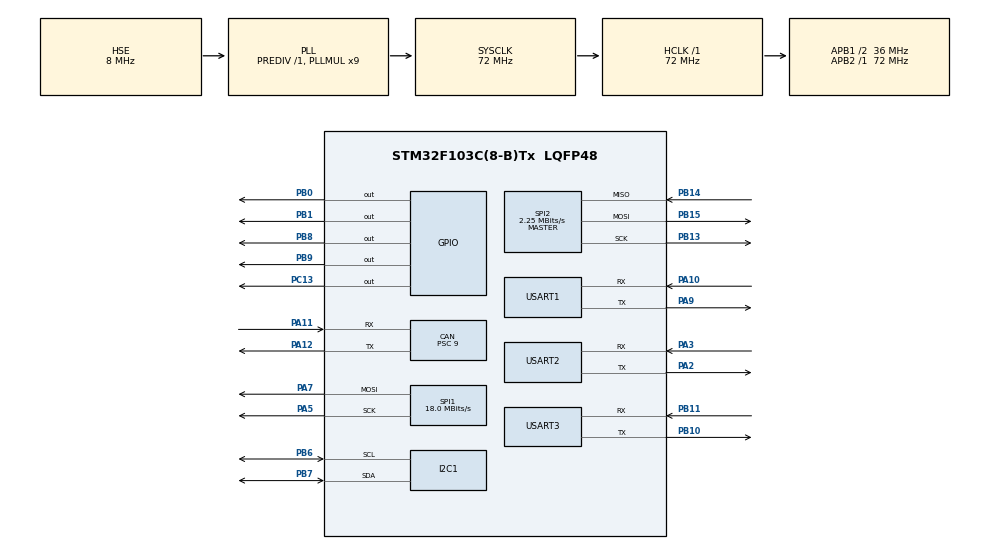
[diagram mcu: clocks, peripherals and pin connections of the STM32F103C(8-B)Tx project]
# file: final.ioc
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CAN.BS1=CAN_BS1_5TQ
CAN.BS2=CAN_BS2_2TQ
CAN.CalculateBaudRate=500000
CAN.CalculateTimeBit=2000
CAN.CalculateTimeQuantum=250.0
CAN.Prescaler=9
FREERTOS.Tasks01=Task01,3,128,StartTask01,Default,NULL,Dynamic,NULL,NULL
Mcu.Family=STM32F1
Mcu.Name=STM32F103C(8-B)Tx
Mcu.Package=LQFP48
NVIC.PriorityGroup=NVIC_PRIORITYGROUP_4
NVIC.TIM4_IRQn=true\:15\:0\:false\:false\:true\:false\:false\:true\:true
NVIC.TimeBase=TIM4_IRQn
NVIC.TimeBaseIP=TIM4
PA10.Mode=Asynchronous
PA10.Signal=USART1_RX
PA11.Mode=CAN_Activate
PA11.Signal=CAN_RX
PA12.Mode=CAN_Activate
PA12.Signal=CAN_TX
PA13.Mode=Serial_Wire
PA13.Signal=SYS_JTMS-SWDIO
PA14.Mode=Serial_Wire
PA14.Signal=SYS_JTCK-SWCLK
PA2.Mode=Asynchronous
PA2.Signal=USART2_TX
PA3.Mode=Asynchronous
PA3.Signal=USART2_RX
PA5.Mode=TX_Only_Simplex_Unidirect_Master
PA5.Signal=SPI1_SCK
PA7.Mode=TX_Only_Simplex_Unidirect_Master
PA7.Signal=SPI1_MOSI
PA9.Mode=Asynchronous
PA9.Signal=USART1_TX
PB0.Signal=GPIO_Output
PB1.Signal=GPIO_Output
PB10.Mode=Asynchronous
PB10.Signal=USART3_TX
PB11.Mode=Asynchronous
PB11.Signal=USART3_RX
PB13.Mode=Full_Duplex_Master
PB13.Signal=SPI2_SCK
PB14.Mode=Full_Duplex_Master
PB14.Signal=SPI2_MISO
PB15.Mode=Full_Duplex_Master
PB15.Signal=SPI2_MOSI
PB6.Mode=I2C
PB6.Signal=I2C1_SCL
PB7.Mode=I2C
PB7.Signal=I2C1_SDA
PB8.Signal=GPIO_Output
PB9.Signal=GPIO_Output
PC13-TAMPER-RTC.Signal=GPIO_Output
PD0-OSC_IN.Mode=HSE-External-Oscillator
PD0-OSC_IN.Signal=RCC_OSC_IN
PD1-OSC_OUT.Mode=HSE-External-Oscillator
PD1-OSC_OUT.Signal=RCC_OSC_OUT
ProjectManager.HeapSize=0x200
ProjectManager.StackSize=0x400
ProjectManager.TargetToolchain=MDK-ARM V5.32
RCC.AHBFreq_Value=72000000
RCC.APB1CLKDivider=RCC_HCLK_DIV2
RCC.APB1Freq_Value=36000000
RCC.APB1TimFreq_Value=72000000
RCC.APB2Freq_Value=72000000
RCC.APB2TimFreq_Value=72000000
RCC.HCLKFreq_Value=72000000
RCC.PLLMUL=RCC_PLL_MUL9
RCC.PLLSourceVirtual=RCC_PLLSOURCE_HSE
RCC.SYSCLKFreq_VALUE=72000000
RCC.SYSCLKSource=RCC_SYSCLKSOURCE_PLLCLK
RCC.USBFreq_Value=72000000
SPI1.BaudRatePrescaler=SPI_BAUDRATEPRESCALER_4
SPI1.CalculateBaudRate=18.0 MBits/s
SPI1.Direction=SPI_DIRECTION_2LINES
SPI1.Mode=SPI_MODE_MASTER
SPI1.VirtualType=VM_MASTER
SPI2.BaudRatePrescaler=SPI_BAUDRATEPRESCALER_16
SPI2.CalculateBaudRate=2.25 MBits/s
SPI2.Direction=SPI_DIRECTION_2LINES
SPI2.Mode=SPI_MODE_MASTER
SPI2.VirtualType=VM_MASTER
USART1.VirtualMode=VM_ASYNC
USART2.VirtualMode=VM_ASYNC
USART3.VirtualMode=VM_ASYNC
VP_FATFS_VS_Generic.Mode=User_defined
VP_FREERTOS_VS_CMSIS_V1.Mode=CMSIS_V1
VP_SYS_VS_tim4.Mode=TIM4
board=custom

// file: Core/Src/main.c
/* USER CODE BEGIN Header */
/**
  ******************************************************************************
  * @file           : main.c
  * @brief          : Main program body
  ******************************************************************************
  * @attention
  *
  * Copyright (c) 2025 STMicroelectronics.
  * All rights reserved.
  *
  * This software is licensed under terms that can be found in the LICENSE file
  * in the root directory of this software component.
  * If no LICENSE file comes with this software, it is provided AS-IS.
  *
  ******************************************************************************
  */
/* USER CODE END Header */
#include "main.h"
#include "cmsis_os.h"
#include "fatfs.h"

/* USER CODE BEGIN Includes */
#include "stdarg.h"
#include "string.h"
#include "fonts.h"
#include "ST7735.h"
#include "DS3231.h"
#include "stdio.h"
#include "freertos.h"
/* USER CODE END Includes */

CAN_HandleTypeDef hcan;

I2C_HandleTypeDef hi2c1;

SPI_HandleTypeDef hspi1;
SPI_HandleTypeDef hspi2;

UART_HandleTypeDef huart1;
UART_HandleTypeDef huart2;
UART_HandleTypeDef huart3;

osThreadId Task01Handle;
/* USER CODE BEGIN PV */
osThreadId Task02Handle;
osThreadId Task03Handle;
/* USER CODE END PV */

void SystemClock_Config(void);
static void MX_GPIO_Init(void);
static void MX_I2C1_Init(void);
static void MX_USART1_UART_Init(void);
static void MX_USART2_UART_Init(void);
static void MX_USART3_UART_Init(void);
static void MX_CAN_Init(void);
static void MX_SPI1_Init(void);
static void MX_SPI2_Init(void);
void StartTask01(void const * argument);

/* USER CODE BEGIN PFP */
void StartTask02(void const * argument);
void StartTask03(void const * argument);
/* USER CODE END PFP */

/* USER CODE BEGIN 0 */
char buff[80];
void mPrint(const char* format, ...){
    va_list args;
    va_start(args, format);
    vsnprintf(buff, sizeof(buff), format, args);
    va_end(args);
    HAL_UART_Transmit(&huart1, (uint8_t*)buff, strlen(buff), 1000);
}
static void processRxData(void);
CAN_RxHeaderTypeDef rxHeader; //CAN Bus Receive Header
CAN_TxHeaderTypeDef txHeader; //CAN Bus Transmit Header
uint8_t canRX[8] = {0,0,0,0,0,0,0,0}; //CAN Bus Receive Buffer
CAN_FilterTypeDef canfil; //CAN Bus Filter
uint32_t canMailbox; //CAN Bus Mail box variable

// Bi?n luu th�ng s? decimal sau chuy?n d?i
volatile float engine_rpm = 0.0f;
volatile int vehicle_speed = 0;
volatile float coolant_temp = 0.0f;
Datetime dt;

// --- KHAI BÁO CHO TÍNH NĂNG TAI NẠN ---
extern UART_HandleTypeDef huart2; // UART kết nối với SIM
float my_lat = 10.8505f; // Ví dụ: Đại học SPKT
float my_lon = 106.7719f;
uint8_t accident_detected = 0; // Cờ báo tai nạn (0: ko, 1: có)

// Hàm gửi lệnh AT cho SIM
void SIM_SendCommand(char* cmd) {
    HAL_UART_Transmit(&huart2, (uint8_t*)cmd, strlen(cmd), 1000);
    HAL_UART_Transmit(&huart2, (uint8_t*)"\r\n", 2, 100);
    HAL_Delay(500); // Đợi SIM phản hồi
}

// Hàm gửi tin nhắn khẩn cấp
void Send_Emergency_Alert() {
    if(accident_detected == 1) return; // Đã gửi rồi thì không gửi lại liên tục

    char msg_buffer[100];

    // 1. Cấu hình tin nhắn văn bản
    SIM_SendCommand("AT+CMGF=1");

    // 2. Gửi tin nhắn (Thay số điện thoại của bạn vào đây)
    SIM_SendCommand("AT+CMGS=\"0966976292\"");

    // 3. Nội dung tin nhắn kèm vị trí
    sprintf(msg_buffer, "CANH BAO TAI NAN! Vi tri: Lat: %f, Lon: %f", my_lat, my_lon);
    HAL_UART_Transmit(&huart2, (uint8_t*)msg_buffer, strlen(msg_buffer), 1000);

    // 4. Ký tự Ctrl+Z (ASCII 26) để kết thúc tin nhắn
    uint8_t ctrl_z = 26;
    HAL_UART_Transmit(&huart2, &ctrl_z, 1, 100);
    HAL_Delay(3000); // Đợi tin nhắn đi

    // 5. Gọi điện thoại
    SIM_SendCommand("ATD0966976292;");

    accident_detected = 1; // Khóa lại để không spam
}

/* USER CODE END 0 */

int main(void)
{

  /* MCU Configuration--------------------------------------------------------*/

  /* Reset of all peripherals, Initializes the Flash interface and the Systick. */
  HAL_Init();

  /* Configure the system clock */
  SystemClock_Config();

  /* Initialize all configured peripherals */
  MX_GPIO_Init();
  MX_I2C1_Init();
  MX_USART1_UART_Init();
  MX_USART2_UART_Init();
  MX_USART3_UART_Init();
  MX_CAN_Init();
  MX_SPI1_Init();
  MX_SPI2_Init();
  MX_FATFS_Init();
  /* USER CODE BEGIN 2 */
	RTC_Init(&dt);

	 HAL_GPIO_WritePin(GPIOC, GPIO_PIN_13, GPIO_PIN_SET);
  canfil.FilterBank = 0;
  canfil.FilterMode = CAN_FILTERMODE_IDMASK;
  canfil.FilterFIFOAssignment = CAN_RX_FIFO0;
  canfil.FilterIdHigh = 0;
  canfil.FilterIdLow = 0;
  canfil.FilterMaskIdHigh = 0;
  canfil.FilterMaskIdLow = 0;
  canfil.FilterScale = CAN_FILTERSCALE_32BIT;
  canfil.FilterActivation = ENABLE;
  canfil.SlaveStartFilterBank = 14;
	  // Config filter TRU?C khi start CAN
  HAL_CAN_ConfigFilter(&hcan, &canfil);
  HAL_CAN_Start(&hcan);
//  HAL_CAN_ActivateNotification(&hcan, CAN_IT_RX_FIFO0_MSG_PENDING);

  txHeader.DLC = 8;
  txHeader.IDE = CAN_ID_STD;
  txHeader.RTR = CAN_RTR_DATA;
  txHeader.ExtId = 0x00;  // Kh�ng d�ng cho STD ID
  txHeader.TransmitGlobalTime = DISABLE;
  /* USER CODE END 2 */

  /* Create the thread(s) */
  /* definition and creation of Task01 */
  osThreadDef(Task01, StartTask01, osPriorityRealtime, 0, 128);
  Task01Handle = osThreadCreate(osThread(Task01), NULL);

  /* USER CODE BEGIN RTOS_THREADS */
	  osThreadDef(Task02, StartTask02, 2, 0, 128);
  Task02Handle = osThreadCreate(osThread(Task02), NULL);
	mPrint("Heap con lai: %d bytes\r\n", xPortGetFreeHeapSize());
	  osThreadDef(Task03, StartTask03, 1, 0, 2024);
  Task03Handle = osThreadCreate(osThread(Task03), NULL);
	mPrint("Heap con lai: %d bytes\r\n", xPortGetFreeHeapSize());

  /* add threads, ... */
  /* USER CODE END RTOS_THREADS */

  /* Start scheduler */
  osKernelStart();

  /* We should never get here as control is now taken by the scheduler */

  /* Infinite loop */
  while (1)
  {

  }
}

void SystemClock_Config(void)
{
  RCC_OscInitTypeDef RCC_OscInitStruct = {0};
  RCC_ClkInitTypeDef RCC_ClkInitStruct = {0};

  /** Initializes the RCC Oscillators according to the specified parameters
  * in the RCC_OscInitTypeDef structure.
  */
  RCC_OscInitStruct.OscillatorType = RCC_OSCILLATORTYPE_HSE;
  RCC_OscInitStruct.HSEState = RCC_HSE_ON;
  RCC_OscInitStruct.HSEPredivValue = RCC_HSE_PREDIV_DIV1;
  RCC_OscInitStruct.HSIState = RCC_HSI_ON;
  RCC_OscInitStruct.PLL.PLLState = RCC_PLL_ON;
  RCC_OscInitStruct.PLL.PLLSource = RCC_PLLSOURCE_HSE;
  RCC_OscInitStruct.PLL.PLLMUL = RCC_PLL_MUL9;
  if (HAL_RCC_OscConfig(&RCC_OscInitStruct) != HAL_OK)
  {
    Error_Handler();
  }

  /** Initializes the CPU, AHB and APB buses clocks
  */
  RCC_ClkInitStruct.ClockType = RCC_CLOCKTYPE_HCLK|RCC_CLOCKTYPE_SYSCLK
                              |RCC_CLOCKTYPE_PCLK1|RCC_CLOCKTYPE_PCLK2;
  RCC_ClkInitStruct.SYSCLKSource = RCC_SYSCLKSOURCE_PLLCLK;
  RCC_ClkInitStruct.AHBCLKDivider = RCC_SYSCLK_DIV1;
  RCC_ClkInitStruct.APB1CLKDivider = RCC_HCLK_DIV2;
  RCC_ClkInitStruct.APB2CLKDivider = RCC_HCLK_DIV1;

  if (HAL_RCC_ClockConfig(&RCC_ClkInitStruct, FLASH_LATENCY_2) != HAL_OK)
  {
    Error_Handler();
  }
}

static void MX_CAN_Init(void)
{

  hcan.Instance = CAN1;
  hcan.Init.Prescaler = 9;
  hcan.Init.Mode = CAN_MODE_NORMAL;
  hcan.Init.SyncJumpWidth = CAN_SJW_1TQ;
  hcan.Init.TimeSeg1 = CAN_BS1_5TQ;
  hcan.Init.TimeSeg2 = CAN_BS2_2TQ;
  hcan.Init.TimeTriggeredMode = DISABLE;
  hcan.Init.AutoBusOff = DISABLE;
  hcan.Init.AutoWakeUp = DISABLE;
  hcan.Init.AutoRetransmission = DISABLE;
  hcan.Init.ReceiveFifoLocked = DISABLE;
  hcan.Init.TransmitFifoPriority = DISABLE;
  if (HAL_CAN_Init(&hcan) != HAL_OK)
  {
    Error_Handler();
  }

}

static void MX_I2C1_Init(void)
{

  hi2c1.Instance = I2C1;
  hi2c1.Init.ClockSpeed = 100000;
  hi2c1.Init.DutyCycle = I2C_DUTYCYCLE_2;
  hi2c1.Init.OwnAddress1 = 0;
  hi2c1.Init.AddressingMode = I2C_ADDRESSINGMODE_7BIT;
  hi2c1.Init.DualAddressMode = I2C_DUALADDRESS_DISABLE;
  hi2c1.Init.OwnAddress2 = 0;
  hi2c1.Init.GeneralCallMode = I2C_GENERALCALL_DISABLE;
  hi2c1.Init.NoStretchMode = I2C_NOSTRETCH_DISABLE;
  if (HAL_I2C_Init(&hi2c1) != HAL_OK)
  {
    Error_Handler();
  }

}

static void MX_SPI1_Init(void)
{

  /* SPI1 parameter configuration*/
  hspi1.Instance = SPI1;
  hspi1.Init.Mode = SPI_MODE_MASTER;
  hspi1.Init.Direction = SPI_DIRECTION_2LINES;
  hspi1.Init.DataSize = SPI_DATASIZE_8BIT;
  hspi1.Init.CLKPolarity = SPI_POLARITY_LOW;
  hspi1.Init.CLKPhase = SPI_PHASE_1EDGE;
  hspi1.Init.NSS = SPI_NSS_SOFT;
  hspi1.Init.BaudRatePrescaler = SPI_BAUDRATEPRESCALER_4;
  hspi1.Init.FirstBit = SPI_FIRSTBIT_MSB;
  hspi1.Init.TIMode = SPI_TIMODE_DISABLE;
  hspi1.Init.CRCCalculation = SPI_CRCCALCULATION_DISABLE;
  hspi1.Init.CRCPolynomial = 10;
  if (HAL_SPI_Init(&hspi1) != HAL_OK)
  {
    Error_Handler();
  }

}

static void MX_SPI2_Init(void)
{

  /* SPI2 parameter configuration*/
  hspi2.Instance = SPI2;
  hspi2.Init.Mode = SPI_MODE_MASTER;
  hspi2.Init.Direction = SPI_DIRECTION_2LINES;
  hspi2.Init.DataSize = SPI_DATASIZE_8BIT;
  hspi2.Init.CLKPolarity = SPI_POLARITY_LOW;
  hspi2.Init.CLKPhase = SPI_PHASE_1EDGE;
  hspi2.Init.NSS = SPI_NSS_SOFT;
  hspi2.Init.BaudRatePrescaler = SPI_BAUDRATEPRESCALER_16;
  hspi2.Init.FirstBit = SPI_FIRSTBIT_MSB;
  hspi2.Init.TIMode = SPI_TIMODE_DISABLE;
  hspi2.Init.CRCCalculation = SPI_CRCCALCULATION_DISABLE;
  hspi2.Init.CRCPolynomial = 10;
  if (HAL_SPI_Init(&hspi2) != HAL_OK)
  {
    Error_Handler();
  }

}

static void MX_USART1_UART_Init(void)
{

  huart1.Instance = USART1;
  huart1.Init.BaudRate = 115200;
  huart1.Init.WordLength = UART_WORDLENGTH_8B;
  huart1.Init.StopBits = UART_STOPBITS_1;
  huart1.Init.Parity = UART_PARITY_NONE;
  huart1.Init.Mode = UART_MODE_TX_RX;
  huart1.Init.HwFlowCtl = UART_HWCONTROL_NONE;
  huart1.Init.OverSampling = UART_OVERSAMPLING_16;
  if (HAL_UART_Init(&huart1) != HAL_OK)
  {
    Error_Handler();
  }

}

static void MX_USART2_UART_Init(void)
{

  huart2.Instance = USART2;
  huart2.Init.BaudRate = 115200;
  huart2.Init.WordLength = UART_WORDLENGTH_8B;
  huart2.Init.StopBits = UART_STOPBITS_1;
  huart2.Init.Parity = UART_PARITY_NONE;
  huart2.Init.Mode = UART_MODE_TX_RX;
  huart2.Init.HwFlowCtl = UART_HWCONTROL_NONE;
  huart2.Init.OverSampling = UART_OVERSAMPLING_16;
  if (HAL_UART_Init(&huart2) != HAL_OK)
  {
    Error_Handler();
  }

}

static void MX_USART3_UART_Init(void)
{

  huart3.Instance = USART3;
  huart3.Init.BaudRate = 115200;
  huart3.Init.WordLength = UART_WORDLENGTH_8B;
  huart3.Init.StopBits = UART_STOPBITS_1;
  huart3.Init.Parity = UART_PARITY_NONE;
  huart3.Init.Mode = UART_MODE_TX_RX;
  huart3.Init.HwFlowCtl = UART_HWCONTROL_NONE;
  huart3.Init.OverSampling = UART_OVERSAMPLING_16;
  if (HAL_UART_Init(&huart3) != HAL_OK)
  {
    Error_Handler();
  }

}

static void MX_GPIO_Init(void)
{
  GPIO_InitTypeDef GPIO_InitStruct = {0};

  /* GPIO Ports Clock Enable */
  __HAL_RCC_GPIOC_CLK_ENABLE();
  __HAL_RCC_GPIOD_CLK_ENABLE();
  __HAL_RCC_GPIOA_CLK_ENABLE();
  __HAL_RCC_GPIOB_CLK_ENABLE();

  /*Configure GPIO pin Output Level */
  HAL_GPIO_WritePin(GPIOC, GPIO_PIN_13, GPIO_PIN_RESET);

  /*Configure GPIO pin Output Level */
  HAL_GPIO_WritePin(GPIOB, GPIO_PIN_0|GPIO_PIN_1|GPIO_PIN_8|GPIO_PIN_9, GPIO_PIN_RESET);

  /*Configure GPIO pin : PC13 */
  GPIO_InitStruct.Pin = GPIO_PIN_13;
  GPIO_InitStruct.Mode = GPIO_MODE_OUTPUT_PP;
  GPIO_InitStruct.Pull = GPIO_NOPULL;
  GPIO_InitStruct.Speed = GPIO_SPEED_FREQ_LOW;
  HAL_GPIO_Init(GPIOC, &GPIO_InitStruct);

  /*Configure GPIO pins : PB0 PB1 PB8 PB9 */
  GPIO_InitStruct.Pin = GPIO_PIN_0|GPIO_PIN_1|GPIO_PIN_8|GPIO_PIN_9;
  GPIO_InitStruct.Mode = GPIO_MODE_OUTPUT_PP;
  GPIO_InitStruct.Pull = GPIO_NOPULL;
  GPIO_InitStruct.Speed = GPIO_SPEED_FREQ_LOW;
  HAL_GPIO_Init(GPIOB, &GPIO_InitStruct);

  /* USER CODE BEGIN MX_GPIO_Init_2 */

HAL_GPIO_WritePin(GPIOC, GPIO_PIN_13, GPIO_PIN_RESET);
  /*Configure GPIO pin : PC13 */
  GPIO_InitStruct.Pin = GPIO_PIN_13;
  GPIO_InitStruct.Mode = GPIO_MODE_OUTPUT_PP;
  GPIO_InitStruct.Pull = GPIO_NOPULL;
  GPIO_InitStruct.Speed = GPIO_SPEED_FREQ_LOW;
  HAL_GPIO_Init(GPIOC, &GPIO_InitStruct);

  // Th�m config CAN pins (b?t bu?c)
  // CAN_RX PA11
  GPIO_InitStruct.Pin = GPIO_PIN_11;
  GPIO_InitStruct.Mode = GPIO_MODE_INPUT;
  GPIO_InitStruct.Pull = GPIO_PULLUP;  // Pull-up cho Rx
  HAL_GPIO_Init(GPIOA, &GPIO_InitStruct);

  // CAN_TX PA12
  GPIO_InitStruct.Pin = GPIO_PIN_12;
  GPIO_InitStruct.Mode = GPIO_MODE_AF_PP;
  GPIO_InitStruct.Speed = GPIO_SPEED_FREQ_HIGH;
  GPIO_InitStruct.Pull = GPIO_NOPULL;
  HAL_GPIO_Init(GPIOA, &GPIO_InitStruct);
  /* USER CODE END MX_GPIO_Init_2 */
}

/* USER CODE BEGIN 4 */
void HAL_CAN_RxFifo0MsgPendingCallback(CAN_HandleTypeDef *hcan1)
{
    HAL_CAN_GetRxMessage(hcan1, CAN_RX_FIFO0, &rxHeader, canRX);

    HAL_GPIO_TogglePin(GPIOC, GPIO_PIN_13);

    // G?i h�m chuy?n d?i th�ng s? sang decimal
    processRxData();

    // Ghi log qua UART (c� th? delay t�)
   // mPrint("RX ID:%03X DLC:%d Data:", rxHeader.StdId, rxHeader.DLC);
//    for(int i = 0; i < rxHeader.DLC; i++){
  //      mPrint("%02X ", canRX[i]);
 //   }
 //   mPrint("\r\n");
}
void processRxData(void)
{
    switch (rxHeader.StdId) {
        case 0x0C:  // Engine RPM
            // RPM = ((byte3 << 8) + byte4) / 4.0 (scale 0.25)
            engine_rpm = ((canRX[3] << 8) | canRX[4]) / 4.0f;
            mPrint("Engine RPM: %.2f\r\n", engine_rpm);
            // So s�nh v� d?
            if (engine_rpm > 2500.0f) {
                mPrint("Warning: High RPM!\r\n");
            }
            break;

        case 0x0D:  // Vehicle Speed
            // Speed = byte0 (km/h)
            vehicle_speed = canRX[0];
            mPrint("Vehicle Speed: %d km/h\r\n", vehicle_speed);
            // So s�nh v� d?
            if (vehicle_speed > 100) {
                mPrint("Warning: Over speed limit!\r\n");
            }
            break;

        case 0x05:  // Engine Coolant Temp
            // Temp = byte0 - 40 (�C)
            coolant_temp = canRX[0] - 40.0f;
            mPrint("Coolant Temp: %.2f C\r\n", coolant_temp);
            // So s�nh v� d?
            if (coolant_temp > 90.0f) {
                mPrint("Warning: Engine overheating!\r\n");
            }
            break;

        default:
            mPrint("Unknown ID: %03X - No conversion\r\n", rxHeader.StdId);
            break;
    }
}
void StartTask02(void const * argument)
{
  /* USER CODE BEGIN Task02 */
	ST7735_Init(&hspi1);
  ST7735_FillScreen(0x0000); // Chỉ xóa màn hình 1 lần duy nhất khi khởi động

  char str_buff[30]; // Bộ đệm chứa chuỗi

  /* Infinite loop */
  for(;;)
  {
    // B1: Đọc thời gian thực từ DS3231

RTC_Read(&dt);
    uint16_t y_pos = 5;          // Căn lề trên 5 pixel
    uint16_t line_height = 25;   // Khoảng cách dòng

    // --- Dòng 1: Tiêu đề ---
    ST7735_DrawString(0, y_pos, "CAN MONITOR", Font_7x10, 0xFFFF, 0x0000);
    y_pos += line_height;

    // --- Dòng 2: Giờ : Phút : Giây ---
    // %02d nghĩa là luôn hiện 2 số (ví dụ: 09:05:00)
    // Thêm khoảng trắng cuối chuỗi để xóa ký tự thừa nếu chuỗi ngắn lại
    sprintf(str_buff, "Time: %02d:%02d:%02d  ", dt.hour, dt.min, dt.second);
    ST7735_DrawString(0, y_pos, str_buff, Font_7x10, 0x07FF, 0x0000); // Màu Cyan
    y_pos += line_height;

    // --- Dòng 3: Ngày / Tháng / Năm ---
    // Năm chỉ đọc 2 số cuối (ví dụ 25), nên thêm "20" đằng trước
    sprintf(str_buff, "Date: %02d/%02d/20%02d ", dt.date, dt.month, dt.year);
    ST7735_DrawString(0, y_pos, str_buff, Font_7x10, 0x07FF, 0x0000); // Màu Cyan
    y_pos += line_height;

    // --- Dòng 4: Tốc độ ---
    sprintf(str_buff, "Speed: %d km/h   ", vehicle_speed);
    ST7735_DrawString(0, y_pos, str_buff, Font_7x10, 0xFFE0, 0x0000); // Màu Vàng
    y_pos += line_height;

    // --- Dòng 5: Tên ---
    ST7735_DrawString(0, y_pos, "Dev: Khiem", Font_7x10, 0x07E0, 0x0000); // Màu Xanh lá

    osDelay(200); // Cập nhật màn hình 5 lần/giây (đủ mượt cho mắt)
  }
  /* USER CODE END Task02 */
}

void StartTask03(void const * argument)
{
  /* USER CODE BEGIN Task03 */
FATFS fs;
  FIL fil;
  FRESULT fr;
  UINT bw;
  char log_buff[100];
mPrint("Entered Task03!\r\n");
  // Mount thẻ nhớ
  fr = f_mount(&fs, "", 1);

  // --- DEBUG 1: Nếu Mount lỗi, đèn sẽ SÁNG và hệ thống dừng tại đây ---
  if(fr != FR_OK) {
      HAL_GPIO_WritePin(GPIOC, GPIO_PIN_13, GPIO_PIN_RESET); // Đèn sáng (Active Low)
      for(;;) { osDelay(100); } // Chết tại chỗ để báo lỗi Mount
  }
  /* Infinite loop */
  for(;;)
  {
// 2. Mở file để ghi
      fr = f_open(&fil, "log.txt", FA_OPEN_ALWAYS | FA_WRITE);

      if(fr == FR_OK) {
          // --- THÀNH CÔNG ---
          f_lseek(&fil, f_size(&fil)); // Xuống cuối file

          // Format chuỗi log
          sprintf(log_buff, "%02d:%02d:%02d, SPD:%d, RPM:%.0f\n",
                  dt.hour, dt.min, dt.second,
                  vehicle_speed, engine_rpm);

          f_write(&fil, log_buff, strlen(log_buff), &bw);
          f_close(&fil);

          // Debug: Nháy chậm (1s) -> OK
          HAL_GPIO_TogglePin(GPIOC, GPIO_PIN_13);
          osDelay(1000);
      }
      else {
          // --- LỖI MỞ FILE ---
          // Debug: Nháy cực nhanh (100ms) -> Lỗi File/Thẻ
          HAL_GPIO_TogglePin(GPIOC, GPIO_PIN_13);
          osDelay(100);
          mPrint("File Open Error: %d\r\n", fr);
      }

  /* USER CODE END Task03 */
}
	}
/* USER CODE END 4 */

void StartTask01(void const * argument)
{
  /* USER CODE BEGIN 5 */
	// Biến phục vụ thuật toán phát hiện tai nạn
  int last_speed = 0;
  uint32_t last_can_msg_tick = 0;
  uint32_t crash_potential_tick = 0;
  uint8_t potential_crash = 0; // 0: Bình thường, 1: Nghi vấn
  /* Infinite loop */
  for(;;)
  {
if (HAL_CAN_GetRxFifoFillLevel(&hcan, CAN_RX_FIFO0) > 0) {
        if (HAL_CAN_GetRxMessage(&hcan, CAN_RX_FIFO0, &rxHeader, canRX) == HAL_OK) {

            // Cập nhật thời gian nhận tin cuối cùng
            last_can_msg_tick = HAL_GetTick();

            // Xử lý dữ liệu (Cập nhật vehicle_speed)
            processRxData();

            // --- THUẬT TOÁN GIA TỐC ---
            // Chỉ kiểm tra khi có sự thay đổi tốc độ
            if(vehicle_speed != last_speed) {
                // Tính độ giảm tốc (Deceleration)
                int delta_v = last_speed - vehicle_speed;

                // Nếu đang đi nhanh (>30km/h) mà giảm đột ngột (>20km/h trong 1 lần đọc)
                // Ngưỡng này cần tinh chỉnh tùy thuộc vào tần số gửi CAN của xe
                if(last_speed > 30 && delta_v > 20) {
                    potential_crash = 1;
                    crash_potential_tick = HAL_GetTick(); // Ghi lại thời điểm nghi vấn
                    mPrint("WARNING: High Deceleration Detected!\r\n");
                }

                last_speed = vehicle_speed; // Lưu tốc độ cũ
            }
        }
    }

    // 2. XỬ LÝ NGHI VẤN TAI NẠN
    if(potential_crash == 1 && accident_detected == 0) {

        // Đợi 3 giây sau cú va chạm để kiểm tra trạng thái cuối cùng
        if(HAL_GetTick() - crash_potential_tick > 3000) {

            // Điều kiện xác nhận tai nạn:
            // 1. Xe dừng hẳn (Speed = 0)
            // HOẶC 2. Mất tín hiệu CAN quá 3 giây (Do hỏng ECU hoặc đứt dây)
            uint8_t can_lost = (HAL_GetTick() - last_can_msg_tick > 3000);

            if(vehicle_speed == 0 || can_lost) {
                // ---> XÁC NHẬN TAI NẠN <---
                mPrint("ACCIDENT CONFIRMED! Sending Alert...\r\n");

                // Gọi hàm gửi SIM (Lưu ý: Hàm này sẽ delay hệ thống vài giây)
                Send_Emergency_Alert();
            }
            else {
                // Nếu sau 3s mà xe vẫn chạy tiếp -> Phanh gấp bình thường, không phải tai nạn
                potential_crash = 0;
                mPrint("False Alarm: Just hard braking.\r\n");
            }
        }
    }

    // 3. Xử lý RTC (đọc thời gian cho hệ thống)
    // Lưu ý: Task 2 đã đọc rồi, Task 1 không cần đọc liên tục để tránh xung đột I2C
    // RTC_Read(&dt);

    osDelay(100); // Delay ngắn để check CAN liên tục
}
  /* USER CODE END 5 */
}

void HAL_TIM_PeriodElapsedCallback(TIM_HandleTypeDef *htim)
{
  if (htim->Instance == TIM4)
  {
    HAL_IncTick();
  }
}

void Error_Handler(void)
{
  __disable_irq();
  while (1)
  {
  }
}
